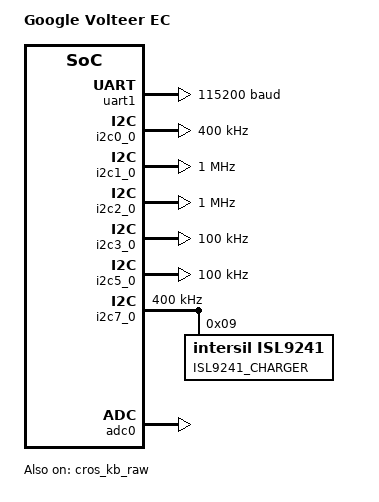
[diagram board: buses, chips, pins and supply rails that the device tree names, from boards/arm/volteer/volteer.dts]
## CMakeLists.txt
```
# Copyright 2020 The Chromium OS Authors. All rights reserved.
# Use of this source code is governed by a BSD-style license that can be
# found in the LICENSE file.
# SPDX-License-Identifier: Apache-2.0

cmake_minimum_required(VERSION 3.13.1)
set(BOARD_ROOT ${CMAKE_CURRENT_LIST_DIR})
set(BOARD volteer)

find_package(Zephyr REQUIRED HINTS $ENV{ZEPHYR_BASE})
project(volteer)

set(PLATFORM_EC_BOARD "${PLATFORM_EC}/board/volteer" CACHE PATH
    "Path to the platform/ec board directory")
set(PLATFORM_EC_BASEBOARD "${PLATFORM_EC}/baseboard/volteer" CACHE PATH
    "Path to the platform/ec baseboard directory")

# Include board specific header files
zephyr_library_include_directories(
  include
  "${PLATFORM_EC_BASEBOARD}"
  "${PLATFORM_EC_BOARD}")

# Include selected EC source for the baseboard
zephyr_library_sources_ifdef(CONFIG_PLATFORM_EC_BATTERY
  "${PLATFORM_EC_BASEBOARD}/battery_presence.c")
zephyr_library_sources_ifdef(CONFIG_PLATFORM_EC_CHARGE_MANAGER
  "${PLATFORM_EC_BASEBOARD}/charger.c")
zephyr_library_sources_ifdef(CONFIG_PLATFORM_EC_CBI
  "${PLATFORM_EC_BASEBOARD}/cbi.c"
  "${PLATFORM_EC_BASEBOARD}/cbi_ec_fw_config.c")
zephyr_library_sources_ifdef(CONFIG_PLATFORM_EC_POWERSEQ
  "${PLATFORM_EC_BASEBOARD}/power.c")
zephyr_library_sources_ifdef(CONFIG_PLATFORM_EC_USB_POWER_DELIVERY
  "${PLATFORM_EC_BASEBOARD}/usb_pd_policy.c")
zephyr_library_sources_ifdef(CONFIG_PLATFORM_EC_USBC
  "${PLATFORM_EC_BASEBOARD}/usbc_config.c")

# Include selected EC source for the board
zephyr_library_sources_ifdef(CONFIG_PLATFORM_EC_BATTERY
  "${PLATFORM_EC_BOARD}/battery.c")
zephyr_library_sources_ifdef(CONFIG_PLATFORM_EC_CBI
  "${PLATFORM_EC_BOARD}/cbi.c")
zephyr_library_sources_ifdef(CONFIG_PLATFORM_EC_KEYBOARD_BOARD_CONFIG
  "${PLATFORM_EC_BOARD}/keyboard.c")
zephyr_library_sources_ifdef(CONFIG_PLATFORM_EC_LED_COMMON
  "${PLATFORM_EC_BOARD}/led.c")
zephyr_library_sources_ifdef(CONFIG_PLATFORM_EC_USBC
  "${PLATFORM_EC_BOARD}/usbc_config.c")

# Board specific sensor implementation
zephyr_library_sources_ifdef(CONFIG_PLATFORM_EC_MOTIONSENSE
  "src/sensors.c")
```

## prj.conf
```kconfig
# Copyright 2021 The Chromium OS Authors. All rights reserved.
# Use of this source code is governed by a BSD-style license that can be
# found in the LICENSE file.

CONFIG_CROS_EC=y

# SoC configuration
CONFIG_AP=y
CONFIG_AP_X86_INTEL_TGL=y
CONFIG_FPU=y
CONFIG_ARM_MPU=y

# eSPI
CONFIG_ESPI=y
CONFIG_PLATFORM_EC_ESPI_VW_SLP_S4=y

CONFIG_PLATFORM_EC=y
CONFIG_SHIMMED_TASKS=y
CONFIG_ADC=y
CONFIG_ADC_SHELL=n
CONFIG_I2C=y
CONFIG_PLATFORM_EC_EXTPOWER_GPIO=y
CONFIG_PLATFORM_EC_LID_SWITCH=y
CONFIG_PLATFORM_EC_POWER_BUTTON=y
CONFIG_PLATFORM_EC_CBI=y
CONFIG_PLATFORM_EC_CONSOLE_CMD_HCDEBUG=n
CONFIG_PLATFORM_EC_CONSOLE_CMD_CHGRAMP=n

# Keyboard
CONFIG_PLATFORM_EC_KEYBOARD=y
CONFIG_PLATFORM_EC_KEYBOARD_COL2_INVERTED=y
CONFIG_PLATFORM_EC_KEYBOARD_BOARD_CONFIG=y
CONFIG_PLATFORM_EC_KEYBOARD_KEYPAD=y
CONFIG_PLATFORM_EC_KEYBOARD_PWRBTN_ASSERTS_KSI2=y
CONFIG_PLATFORM_EC_VOLUME_BUTTONS=y

# Battery
CONFIG_PLATFORM_EC_BATTERY=y
CONFIG_PLATFORM_EC_BATTERY_SMART=y
CONFIG_PLATFORM_EC_BATTERY_FUEL_GAUGE=y
CONFIG_PLATFORM_EC_BATTERY_CUT_OFF=y

CONFIG_PLATFORM_EC_BATTERY_HW_PRESENT_CUSTOM=y
CONFIG_PLATFORM_EC_BATTERY_REVIVE_DISCONNECT=y

# Keyboard Backlight
CONFIG_PLATFORM_EC_PWM_KBLIGHT=y

# LED
CONFIG_PLATFORM_EC_LED_COMMON=y
CONFIG_PLATFORM_EC_LED_PWM=y
CONFIG_PLATFORM_EC_CONSOLE_CMD_LEDTEST=n

# Power Sequencing
CONFIG_PLATFORM_EC_POWERSEQ=y
CONFIG_PLATFORM_EC_POWERSEQ_RTC_RESET=y
CONFIG_PLATFORM_EC_POWERSEQ_S0IX=y
CONFIG_PLATFORM_EC_POWER_SLEEP_FAILURE_DETECTION=y

# PWM
CONFIG_PWM=y
CONFIG_PWM_SHELL=n
CONFIG_PLATFORM_EC_PWM=y

# Fan
CONFIG_PLATFORM_EC_FAN=y
CONFIG_SENSOR=y
CONFIG_SENSOR_SHELL=n
CONFIG_TACH_NPCX=y

# Sensors
CONFIG_PLATFORM_EC_MOTIONSENSE=y
CONFIG_PLATFORM_EC_ACCEL_FIFO=y
CONFIG_PLATFORM_EC_ACCEL_INTERRUPTS=y
CONFIG_PLATFORM_EC_ALS=y
CONFIG_PLATFORM_EC_ALS_COUNT=1
CONFIG_PLATFORM_EC_DYNAMIC_MOTION_SENSOR_COUNT=y
CONFIG_PLATFORM_EC_GMR_TABLET_MODE=y
CONFIG_PLATFORM_EC_LID_ANGLE=y
CONFIG_PLATFORM_EC_LID_ANGLE_UPDATE=y
CONFIG_PLATFORM_EC_SENSOR_TIGHT_TIMESTAMPS=y
CONFIG_PLATFORM_EC_TABLET_MODE=y

# Sensor Drivers
CONFIG_PLATFORM_EC_ACCEL_BMA255=y
CONFIG_PLATFORM_EC_ACCELGYRO_BMI260=y
CONFIG_PLATFORM_EC_ALS_TCS3400=y

# Temperature sensors
CONFIG_PLATFORM_EC_TEMP_SENSOR=y
CONFIG_PLATFORM_EC_THERMISTOR=y
CONFIG_PLATFORM_EC_STEINHART_HART_3V3_30K9_47K_4050B=y

# Miscellaneous tasks
CONFIG_HAS_TASK_KEYPROTO=y
CONFIG_HAS_TASK_POWERBTN=y

# Miscellaneous configs
CONFIG_PLATFORM_EC_BOARD_RESET_AFTER_POWER_ON=y

# MKBP event
CONFIG_PLATFORM_EC_MKBP_EVENT=y
CONFIG_PLATFORM_EC_MKBP_USE_GPIO=y

# USB-C and charging
CONFIG_HAS_TASK_CHARGER=y
CONFIG_PLATFORM_EC_CHARGER_ISL9241=y
CONFIG_PLATFORM_EC_CHARGER_MIN_BAT_PCT_FOR_POWER_ON=3
CONFIG_PLATFORM_EC_CHARGER_MIN_BAT_PCT_FOR_POWER_ON_WITH_AC=1
CONFIG_PLATFORM_EC_CHARGER_MIN_POWER_MW_FOR_POWER_ON_WITH_BATT=15000
CONFIG_PLATFORM_EC_CHARGER_MIN_POWER_MW_FOR_POWER_ON=15001
CONFIG_HAS_TASK_USB_CHG_P1=y
CONFIG_PLATFORM_EC_BC12_DETECT_PI3USB9201=y
CONFIG_PLATFORM_EC_USB_PID=0x503e
CONFIG_PLATFORM_EC_USBC_PPC_SN5S330=y
CONFIG_PLATFORM_EC_USBC_PPC_SYV682X=y
CONFIG_PLATFORM_EC_USBC_RETIMER_INTEL_BB=y
CONFIG_PLATFORM_EC_USB_DRP_ACC_TRYSRC=y
CONFIG_PLATFORM_EC_USB_MUX_VIRTUAL=y
CONFIG_PLATFORM_EC_USB_PD_ALT_MODE_UFP=y
CONFIG_PLATFORM_EC_USB_PD_VBUS_MEASURE_CHARGER=y
CONFIG_PLATFORM_EC_USB_PD_DISCHARGE_PPC=y
CONFIG_PLATFORM_EC_USB_PD_FRS=y
CONFIG_PLATFORM_EC_USB_PD_FRS_PPC=y
CONFIG_PLATFORM_EC_USB_PD_REV30=y
CONFIG_PLATFORM_EC_BATTERY_FUEL_GAUGE=y
CONFIG_PLATFORM_EC_USB_PD_VBUS_DETECT_TCPC=y
CONFIG_PLATFORM_EC_USB_PD_TCPM_PS8815=y
CONFIG_PLATFORM_EC_USB_PD_TCPM_RT1715=y
CONFIG_PLATFORM_EC_USB_PD_TCPM_TUSB422=y
CONFIG_PLATFORM_EC_USB_PD_TCPM_MUX=y
CONFIG_HAS_TASK_PD_C1=y
CONFIG_HAS_TASK_PD_INT_C1=y
CONFIG_PLATFORM_EC_USBC_PPC_DEDICATED_INT=y
CONFIG_PLATFORM_EC_USB_A_PORT_COUNT=1
CONFIG_PLATFORM_EC_CONSOLE_CMD_PPC_DUMP=n
CONFIG_PLATFORM_EC_CONSOLE_CMD_TCPC_DUMP=n

# Flash
CONFIG_PLATFORM_EC_PROTECTED_STORAGE_OFF=0x0
CONFIG_PLATFORM_EC_PROTECTED_STORAGE_SIZE=0x40000
CONFIG_PLATFORM_EC_WRITABLE_STORAGE_OFF=0x40000
CONFIG_PLATFORM_EC_WRITABLE_STORAGE_SIZE=0x40000
CONFIG_PLATFORM_EC_CONSOLE_CMD_FLASH=n

# RTC
CONFIG_PLATFORM_EC_RTC=y
```

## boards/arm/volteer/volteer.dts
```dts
/*
 * Copyright (c) 2020 The Chromium OS Authors
 *
 * SPDX-License-Identifier: Apache-2.0
 */

/dts-v1/;

#include <cros/nuvoton/npcx7.dtsi>
#include <dt-bindings/adc/adc.h>
#include <dt-bindings/charger/intersil_isl9241.h>
#include <dt-bindings/gpio_defines.h>
#include <nuvoton/npcx7m7fc.dtsi>

/ {
	model = "Google Volteer EC";

	aliases {
		i2c-0 = &i2c0_0;
		i2c-1 = &i2c1_0;
		i2c-2 = &i2c2_0;
		i2c-3 = &i2c3_0;
		i2c-5 = &i2c5_0;
		i2c-7 = &i2c7_0;
	};

	chosen {
		zephyr,sram = &sram0;
		zephyr,console = &uart1;
		zephyr,shell-uart = &uart1;
		zephyr,flash = &flash0;
		cros,rtc = &mtc;
	};

	ec-console {
		compatible = "ec-console";

		disabled = "hostcmd";
	};

	named-batteries {
		compatible = "named-batteries";

		lgc011 {
			enum-name = "lgc011";
		};
	};

	named-i2c-ports {
		compatible = "named-i2c-ports";

		i2c_sensor: sensor {
			i2c-port = <&i2c0_0>;
			enum-name = "I2C_PORT_SENSOR";
			label = "SENSOR";
		};
		i2c-accel {
			i2c-port = <&i2c0_0>;
			enum-name = "I2C_PORT_ACCEL";
			label = "ACCEL";
		};
		usb-c0 {
			i2c-port = <&i2c1_0>;
			enum-name = "I2C_PORT_USB_C0";
			label = "USB_C0";
		};
		usb-c1 {
			i2c-port = <&i2c2_0>;
			enum-name = "I2C_PORT_USB_C1";
			label = "USB_C1";
		};
		usb1-mix {
			i2c-port = <&i2c3_0>;
			enum-name = "I2C_PORT_USB_1_MIX";
			label = "USB_1_MIX";
		};
		power {
			i2c-port = <&i2c5_0>;
			enum-name = "I2C_PORT_POWER";
			label = "POWER";
		};
		battery {
			i2c-port = <&i2c5_0>;
			enum-name = "I2C_PORT_BATTERY";
			label = "BATTERY";
		};
		eeprom {
			i2c-port = <&i2c7_0>;
			enum-name = "I2C_PORT_EEPROM";
			label = "EEPROM";
		};
		charger {
			i2c-port = <&i2c7_0>;
			enum-name = "I2C_PORT_CHARGER";
			label = "CHARGER";
		};
	};

	named-adc-channels {
		compatible = "named-adc-channels";

		adc_charger: charger {
			label = "ADC_TEMP_SENSOR_CHARGER";
			enum-name = "ADC_TEMP_SENSOR_CHARGER";
			channel = <0>;
		};
		adc_pp3300_regulator: pp3300_regulator {
			label = "ADC_TEMP_SENSOR_PP3300_REGULATOR";
			enum-name = "ADC_TEMP_SENSOR_PP3300_REGULATOR";
			channel = <1>;
		};
		adc_ddr_soc: ddr_soc {
			label = "ADC_TEMP_SENSOR_DDR_SOC";
			enum-name = "ADC_TEMP_SENSOR_DDR_SOC";
			channel = <8>;
		};
		adc_fan: fan {
			label = "ADC_TEMP_SENSOR_FAN";
			enum-name = "ADC_TEMP_SENSOR_FAN";
			channel = <3>;
		};
	};

	named-temp-sensors {
		charger {
			compatible = "temp-3v3-30k9-47k-4050b";
			label = "TEMP_SENSOR_CHARGER";
			enum-name = "TEMP_SENSOR_CHARGER";
			temp_fan_off = <40>;
			temp_fan_max = <55>;
			temp_host_high = <75>;
			temp_host_halt = <80>;
			temp_host_release_high = <65>;
			adc = <&adc_charger>;
		};
		pp3300_regulator {
			compatible = "temp-3v3-30k9-47k-4050b";
			label = "TEMP_SENSOR_PP3300_REGULATOR";
			enum-name = "TEMP_SENSOR_PP3300_REGULATOR";
			temp_fan_off = <40>;
			temp_fan_max = <55>;
			temp_host_high = <75>;
			temp_host_halt = <80>;
			temp_host_release_high = <65>;
			adc = <&adc_pp3300_regulator>;
		};
		ddr_soc {
			compatible = "temp-3v3-30k9-47k-4050b";
			label = "TEMP_SENSOR_DDR_SOC";
			enum-name = "TEMP_SENSOR_DDR_SOC";
			temp_fan_off = <35>;
			temp_fan_max = <50>;
			temp_host_high = <70>;
			temp_host_halt = <80>;
			temp_host_release_high = <65>;
			adc = <&adc_ddr_soc>;
		};
		fan {
			compatible = "temp-3v3-30k9-47k-4050b";
			label = "TEMP_SENSOR_FAN";
			enum-name = "TEMP_SENSOR_FAN";
			temp_fan_off = <35>;
			temp_fan_max = <50>;
			temp_host_high = <70>;
			temp_host_halt = <80>;
			temp_host_release_high = <65>;
			adc = <&adc_fan>;
		};
	};

	vsby-psl-in-list {
		/* Use PSL_IN1/2/3/4 as detection pins from hibernate mode */
		psl-in-pads = <&psl_in1 &psl_in2 &psl_in3 &psl_in4>;
	};

	/*
	 * The CBI Second Source Factory Cache (SSFC) layout definition.
	 * Specific fields values are defined per board.
	 */
	cbi-ssfc {
		compatible = "named-cbi-ssfc";

		cbi_ssfc_base_sensor: base_sensor {
			enum-name = "BASE_SENSOR";
			size = <3>;
		};
		cbi_ssfc_lid_sensor: lid_sensor {
			enum-name = "LID_SENSOR";
			size = <3>;
		};
		cbi_ssfc_lightbar: lightbar {
			enum-name = "LIGHTBAR";
			size = <2>;
		};
	};
};

&uart1 {
	status = "okay";
	current-speed = <115200>;
	pinctrl-0 = <&altc_uart1_sl2>; /* Use UART1_SL2 ie. PIN64.65 */
};

&i2c0_0 {
	status = "okay";
	clock-frequency = <I2C_BITRATE_FAST>;
};

&i2c1_0 {
	status = "okay";
	clock-frequency = <I2C_BITRATE_FAST_PLUS>;
};

&i2c2_0 {
	status = "okay";
	clock-frequency = <I2C_BITRATE_FAST_PLUS>;
};

&i2c3_0 {
	status = "okay";
	clock-frequency = <I2C_BITRATE_STANDARD>;
};

&i2c5_0 {
	status = "okay";
	clock-frequency = <I2C_BITRATE_STANDARD>;
};

&i2c7_0 {
	status = "okay";
	clock-frequency = <I2C_BITRATE_FAST>;

	isl9241: isl9241@9 {
		compatible = "intersil,isl9241";
		reg = <0x09>;
		label = "ISL9241_CHARGER";
		switching-frequency = <SWITCHING_FREQ_724KHZ>;
	};
};

&cros_kb_raw {
	status = "okay";
	/* No KSO2 (it's inverted and implemented by GPIO) */
	pinctrl-0 = <&alt7_no_ksi0_sl
		     &alt7_no_ksi1_sl
		     &alt7_no_ksi2_sl
		     &alt7_no_ksi3_sl
		     &alt7_no_ksi4_sl
		     &alt7_no_ksi5_sl
		     &alt7_no_ksi6_sl
		     &alt7_no_ksi7_sl
		     &alt8_no_kso00_sl
		     &alt8_no_kso01_sl
		     &alt8_no_kso03_sl
		     &alt8_no_kso04_sl
		     &alt8_no_kso05_sl
		     &alt8_no_kso06_sl
		     &alt8_no_kso07_sl
		     &alt9_no_kso08_sl
		     &alt9_no_kso09_sl
		     &alt9_no_kso10_sl
		     &alt9_no_kso11_sl
		     &alt9_no_kso12_sl
		     &alt9_no_kso13_sl
		     &alt9_no_kso14_sl
		     >;
};

&adc0 {
	status = "okay";
};

/* Power switch logic input pads */
&psl_in1 {
	flag = <NPCX_PSL_RISING_EDGE>;
};

&psl_in2 {
	flag = <NPCX_PSL_RISING_EDGE>;
};

&psl_in3 {
	flag = <NPCX_PSL_FALLING_EDGE>;
};

&psl_in4 {
	flag = <NPCX_PSL_RISING_EDGE>;
};
```

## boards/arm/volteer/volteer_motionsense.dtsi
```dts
/*
 * Copyright (c) 2020 The Chromium OS Authors
 *
 * SPDX-License-Identifier: Apache-2.0
 */

#include <dt-bindings/motionsense/utils.h>


/ {
	aliases {
		/*
		 * motion sense's <>_INT_EVENT is handled
		 * by alias. Using the alias, each driver creates
		 * its own <>_INT_EVENT.
		 */
		bmi260-int = &base_accel;
		tcs3400-int = &als_clear;
	};

	/*
	 * Declare mutexes used by sensor drivers.
	 * A mutex node is used to create an instance of mutex_t.
	 * A mutex node is referenced by a sensor node if the
	 * corresponding sensor driver needs to use the
	 * instance of the mutex.
	 */
	motionsense-mutex {
		compatible = "cros-ec,motionsense-mutex";
		mutex_bma255: bma255-mutex {
			label = "BMA255_MUTEX";
		};

		mutex_bmi260: bmi260-mutex {
			label = "BMI260_MUTEX";
		};
	};

	/* Rotation matrix used by drivers. */
	motionsense-rotation-ref {
		compatible = "cros-ec,motionsense-rotation-ref";
		lid_rot_ref: lid-rotation-ref {
			mat33 = <1 0 0
				 0 (-1) 0
				 0 0 (-1)>;
		};
		base_rot_ref: base-rotation-ref {
			mat33 = <0 1 0
				 (-1) 0 0
				 0 0 1>;
		};
	};

	/*
	 * Driver specific data. A driver-specific data can be shared with
	 * different motion sensors while they are using the same driver.
	 *
	 * If a node's compatible starts with "cros-ec,accelgyro-", it is for
	 * a common structure defined in accelgyro.h.
	 * e.g) compatible = "cros-ec,accelgyro-als-drv-data" is for
	 * "struct als_drv_data_t" in accelgyro.h
	 */
	motionsense-sensor-data {
		bma255_data: bma255-drv-data {
			compatible = "cros-ec,drvdata-bma255";
			status = "okay";
		};

		bmi260_data: bmi260-drv-data {
			compatible = "cros-ec,drvdata-bmi260";
			status = "okay";
		};

		tcs_clear_data: tcs3400-clear-drv-data {
			compatible = "cros-ec,drvdata-tcs3400-clear";
			status = "okay";

			als-drv-data {
				compatible = "cros-ec,accelgyro-als-drv-data";
				als-cal {
					scale = <1>;
					uscale = <0>;
					offset = <0>;
					als-channel-scale {
					compatible =
					"cros-ec,accelgyro-als-channel-scale";
						k-channel-scale = <1>;
						cover-scale = <1>;
					};
				};
			};
		};

		tcs_rgb_data: tcs3400-rgb-drv-data {
			compatible = "cros-ec,drvdata-tcs3400-rgb";
			status = "okay";

			/* node for rgb_calibration_t defined in accelgyro.h */
			rgb_calibration {
				compatible =
					"cros-ec,accelgyro-rgb-calibration";

				irt = <1>;

				rgb-cal-x {
					offset = <0>;
					coeff = <0 0 0 0>;
					als-channel-scale {
					compatible =
					"cros-ec,accelgyro-als-channel-scale";
						k-channel-scale = <1>;
						cover-scale = <1>;
					};
				};
				rgb-cal-y {
					offset = <0>;
					coeff = <0 0 0 0>;
					als-channel-scale {
					compatible =
					"cros-ec,accelgyro-als-channel-scale";
						k-channel-scale = <1>;
						cover-scale = <1>;
					};
				};
				rgb-cal-z {
					offset = <0>;
					coeff = <0 0 0 0>;
					als-channel-scale {
					compatible =
					"cros-ec,accelgyro-als-channel-scale";
						k-channel-scale = <1>;
						cover-scale = <1>;
					};
				};
			};
		};
	};

	/*
	 * List of motion sensors that creates motion_sensors array.
	 * The label "lid_accel" and "base_accel" are used to indicate
	 * motion sensor IDs for lid angle calculation.
	 */
	motionsense-sensor {
		lid_accel: lid-accel {
			compatible = "cros-ec,bma255";
			status = "okay";

			label = "Lid Accel";
			active-mask = "SENSOR_ACTIVE_S0_S3";
			location = "MOTIONSENSE_LOC_LID";
			mutex = <&mutex_bma255>;
			port = <&i2c_sensor>;
			rot-standard-ref = <&lid_rot_ref>;
			default-range = <2>;
			drv-data = <&bma255_data>;
			i2c-spi-addr-flags = "BMA2x2_I2C_ADDR1_FLAGS";
			configs {
				compatible =
					"cros-ec,motionsense-sensor-config";
				ec-s0 {
					label = "SENSOR_CONFIG_EC_S0";
					odr = <(10000 | ROUND_UP_FLAG)>;
				};
				ec-s3 {
					label = "SENSOR_CONFIG_EC_S3";
					odr = <(10000 | ROUND_UP_FLAG)>;
				};
			};
		};

		base_accel: base-accel {
			compatible = "cros-ec,bmi260-accel";
			status = "okay";

			label = "Base Accel";
			active-mask = "SENSOR_ACTIVE_S0_S3";
			location = "MOTIONSENSE_LOC_BASE";
			mutex = <&mutex_bmi260>;
			port = <&i2c_sensor>;
			rot-standard-ref = <&base_rot_ref>;
			default-range = <4>;
			drv-data = <&bmi260_data>;
			i2c-spi-addr-flags = "BMI260_ADDR0_FLAGS";
			configs {
				compatible =
					"cros-ec,motionsense-sensor-config";
				ec-s0 {
					label = "SENSOR_CONFIG_EC_S0";
					odr = <(10000 | ROUND_UP_FLAG)>;
					ec-rate = <(100 * USEC_PER_MSEC)>;
				};
				ec-s3 {
					label = "SENSOR_CONFIG_EC_S3";
					odr = <(10000 | ROUND_UP_FLAG)>;
					ec-rate = <(100 * USEC_PER_MSEC)>;
				};
			};
		};

		base-gyro {
			compatible = "cros-ec,bmi260-gyro";
			status = "okay";

			label = "Base Gyro";
			active-mask = "SENSOR_ACTIVE_S0_S3";
			location = "MOTIONSENSE_LOC_BASE";
			mutex = <&mutex_bmi260>;
			port = <&i2c_sensor>;
			rot-standard-ref = <&base_rot_ref>;
			default-range = <1000>; /* dps */
			drv-data = <&bmi260_data>;
			i2c-spi-addr-flags = "BMI260_ADDR0_FLAGS";
		};

		als_clear: base-als-clear {
			compatible = "cros-ec,tcs3400-clear";
			status = "okay";

			label = "Clear Light";
			active-mask = "SENSOR_ACTIVE_S0_S3";
			location = "MOTIONSENSE_LOC_BASE";
			port = <&i2c_sensor>;
			default-range = <0x10000>;
			drv-data = <&tcs_clear_data>;
			i2c-spi-addr-flags = "TCS3400_I2C_ADDR_FLAGS";
			configs {
				compatible =
					"cros-ec,motionsense-sensor-config";
				ec-s0 {
					/* Run ALS sensor in S0 */
					label = "SENSOR_CONFIG_EC_S0";
					odr = <1000>;
				};
			};
		};

		base-als-rgb {
			compatible = "cros-ec,tcs3400-rgb";
			status = "okay";

			label = "RGB Light";
			active-mask = "SENSOR_ACTIVE_S0_S3";
			location = "MOTIONSENSE_LOC_BASE";
			default-range = <0x10000>; /* scale = 1x, uscale = 0 */
			drv-data = <&tcs_rgb_data>;
		};
	};

	motionsense-sensor-info {
		compatible = "cros-ec,motionsense-sensor-info";

		/* list of entries for motion_als_sensors */
		als-sensors = <&als_clear>;
		/*
		 * list of GPIO interrupts that have to
		 * be enabled at initial stage
		 */
		sensor-irqs = <&gpio_ec_imu_int_l &gpio_ec_als_rgb_int_l>;
		/* list of sensors in force mode */
		accel-force-mode-sensors = <&lid_accel &als_clear>;
	};
};
```

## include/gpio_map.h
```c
/* Copyright 2020 The Chromium OS Authors. All rights reserved.
 * Use of this source code is governed by a BSD-style license that can be
 * found in the LICENSE file.
 */

#ifndef __ZEPHYR_GPIO_MAP_H
#define __ZEPHYR_GPIO_MAP_H

#include <devicetree.h>
#include <gpio_signal.h>

#include "extpower.h"
#include "lid_switch.h"
#include "power_button.h"

/*
 * Without https://github.com/zephyrproject-rtos/zephyr/pull/29282, we need
 * to manually link GPIO_ defines that platform/ec code expects to the
 * enum gpio_signal values that are generated by device tree bindings.
 *
 * Note we only need to create aliases for GPIOs that are referenced in common
 * platform/ec code.
 */
#define GPIO_AC_PRESENT            NAMED_GPIO(acok_od)
#define GPIO_CPU_PROCHOT           NAMED_GPIO(ec_prochot_odl)
#define GPIO_EC_ALS_RGB_INT_L      NAMED_GPIO(ec_als_rgb_int_l)
#define GPIO_EC_BATT_PRES_ODL      NAMED_GPIO(ec_batt_pres_odl)
#define GPIO_EC_INT_L              NAMED_GPIO(ec_pch_int_odl)
#define GPIO_EC_IMU_INT_L          NAMED_GPIO(ec_imu_int_l)
#define GPIO_EC_PCH_SYS_PWROK      NAMED_GPIO(ec_pch_sys_pwrok)
#define GPIO_EC_PCH_WAKE_ODL       NAMED_GPIO(ec_pch_wake_odl)
#define GPIO_EC_WP_L               NAMED_GPIO(ec_wp_l)
#define GPIO_EN_PP3300_A           NAMED_GPIO(en_pp3300_a)
#define GPIO_EN_PP5000             NAMED_GPIO(en_pp5000_a)
#define GPIO_EN_PP5000_A           NAMED_GPIO(en_pp5000_a)
#define GPIO_EN_PPVAR_VCCIN        NAMED_GPIO(en_ppvar_vccin)
#define GPIO_ENABLE_BACKLIGHT      NAMED_GPIO(ec_edp_bl_en)
#define GPIO_ENTERING_RW           NAMED_GPIO(ec_entering_rw)
#define GPIO_KBD_KSO2              NAMED_GPIO(ec_kso_02_inv)
#define GPIO_LID_OPEN              NAMED_GPIO(ec_lid_open)
#define GPIO_PACKET_MODE_EN        NAMED_GPIO(ec_h1_packet_mode)
#define GPIO_PCH_DSW_PWROK         NAMED_GPIO(ec_pch_dsw_pwrok)
#define GPIO_PCH_PWRBTN_L          NAMED_GPIO(ec_pch_pwr_btn_odl)
#define GPIO_PCH_RSMRST_L          NAMED_GPIO(ec_pch_rsmrst_odl)
#define GPIO_PCH_RTCRST            NAMED_GPIO(ec_pch_rtcrst)
#define GPIO_PCH_SLP_S0_L          NAMED_GPIO(slp_s0_l)
#define GPIO_PCH_SLP_S3_L          NAMED_GPIO(slp_s3_l)
#define GPIO_PCH_SLP_SUS_L         NAMED_GPIO(slp_sus_l)
#define GPIO_PG_EC_ALL_SYS_PWRGD   NAMED_GPIO(pg_ec_all_sys_pwrgd)
#define GPIO_PG_EC_DSW_PWROK       NAMED_GPIO(pg_ec_dsw_pwrok)
#define GPIO_PG_EC_RSMRST_ODL      NAMED_GPIO(pg_ec_rsmrst_odl)
#define GPIO_POWER_BUTTON_L        NAMED_GPIO(h1_ec_pwr_btn_odl)
#define GPIO_RSMRST_L_PGOOD        NAMED_GPIO(pg_ec_rsmrst_odl)
#define GPIO_SLP_SUS_L             NAMED_GPIO(slp_sus_l)
#define GPIO_SYS_RESET_L           NAMED_GPIO(sys_rst_odl)
#define GPIO_TABLET_MODE_L         NAMED_GPIO(tablet_mode_l)
#define GPIO_VOLUME_DOWN_L         NAMED_GPIO(ec_voldn_btn_odl)
#define GPIO_VOLUME_UP_L           NAMED_GPIO(ec_volup_btn_odl)
#define GPIO_WP_L                  NAMED_GPIO(ec_wp_l)

/* USB-C interrupts */
#define GPIO_USB_C0_TCPC_INT_ODL   NAMED_GPIO(usb_c0_tcpc_int_odl)
#define GPIO_USB_C1_TCPC_INT_ODL   NAMED_GPIO(usb_c1_tcpc_int_odl)

#define GPIO_USB_C0_PPC_INT_ODL    NAMED_GPIO(usb_c0_ppc_int_odl)
#define GPIO_USB_C1_PPC_INT_ODL    NAMED_GPIO(usb_c1_ppc_int_odl)

#define GPIO_USB_C0_BC12_INT_ODL   NAMED_GPIO(usb_c0_bc12_int_odl)
#define GPIO_USB_C1_MIX_INT_ODL    NAMED_GPIO(usb_c1_mix_int_odl)

#define GPIO_USB_C0_OC_ODL         NAMED_GPIO(usb_c0_oc_odl)
#define GPIO_USB_C1_OC_ODL         NAMED_GPIO(usb_c1_oc_odl)

/* USB and USBC Signals */
#define GPIO_EN_PP5000_USBA        NAMED_GPIO(en_pp5000_usba)
#define GPIO_USB_C1_FRS_EN         NAMED_GPIO(usb_c1_frs_en)
#define GPIO_USB_C1_RT_RST_ODL \
	NAMED_GPIO_NODELABEL(usb_c1_bb_retimer, reset_gpios)

/* Fan control */
#define GPIO_EN_PP5000_FAN         NAMED_GPIO(en_pp5000_fan)

/* Don't have a load switch for retimer */
/* TODO(b/176559881): How to do unimplemented GPIOs? */
#define GPIO_USB_C1_LS_EN \
	NAMED_GPIO_NODELABEL(usb_c1_bb_retimer, ls_en_gpios)

#define GPIO_USB_C1_BC12_INT_ODL   GPIO_USB_C1_MIX_INT_ODL

#define GPIO_EC_PROCHOT_IN_L       NAMED_GPIO(ec_prochot_in_l)

/* Helper macros for generating CROS_EC_GPIO_INTERRUPTS */
#ifdef CONFIG_PLATFORM_EC_POWERSEQ
#define POWER_SIGNAL_INT(gpio, edge) \
	GPIO_INT(gpio, edge, power_signal_interrupt)
#define AP_PROCHOT_INT(gpio, edge) \
	GPIO_INT(gpio, edge, throttle_ap_prochot_input_interrupt)
#define POWER_BUTTON_INT(gpio, edge) \
	GPIO_INT(gpio, edge, power_button_interrupt)
#else
#define POWER_SIGNAL_INT(gpio, edge)
#define AP_PROCHOT_INT(gpio, edge)
#define POWER_BUTTON_INT(gpio, edge)
#endif

#ifdef CONFIG_PLATFORM_EC_USBC
#define TCPC_ALERT_INT(gpio, edge) GPIO_INT(gpio, edge, tcpc_alert_event)
#define PPC_INT(gpio, edge) GPIO_INT(gpio, edge, ppc_interrupt)
#define BC12_INT(gpio, edge) GPIO_INT(gpio, edge, bc12_interrupt)
#else
#define TCPC_ALERT_INT(gpio, edge)
#define PPC_INT(gpio, edge)
#define BC12_INT(gpio, edge)
#endif

#ifdef CONFIG_PLATFORM_EC_ALS_TCS3400
#define TCS3400_INT(gpio, edge) GPIO_INT(gpio, edge, tcs3400_interrupt)
#else
#define TCS3400_INT(gpio, edge)
#endif

#ifdef CONFIG_PLATFORM_EC_ACCELGYRO_BMI260
#define BMI260_INT(gpio, edge) GPIO_INT(gpio, edge, bmi260_interrupt)
#else
#define BMI260_INT(gpio, edge)
#endif

#ifdef CONFIG_PLATFORM_EC_GMR_TABLET_MODE
#define GMR_TABLET_MODE_INT(gpio, edge) GPIO_INT(gpio, edge, \
						 gmr_tablet_switch_isr)
#define GMR_TABLET_MODE_GPIO_L	GPIO_TABLET_MODE_L
#else
#define GMR_TABLET_MODE_INT(gpio, edge)
#endif

/*
 * Set EC_CROS_GPIO_INTERRUPTS to a space-separated list of GPIO_INT items.
 *
 * Each GPIO_INT requires three parameters:
 *   gpio_signal - The enum gpio_signal for the interrupt gpio
 *   interrupt_flags - The interrupt-related flags (e.g. GPIO_INT_EDGE_BOTH)
 *   handler - The platform/ec interrupt handler.
 *
 * Ensure that this files includes all necessary headers to declare all
 * referenced handler functions.
 *
 * For example, one could use the follow definition:
 * #define EC_CROS_GPIO_INTERRUPTS \
 *   GPIO_INT(NAMED_GPIO(h1_ec_pwr_btn_odl), GPIO_INT_EDGE_BOTH, button_print)
 */
#define EC_CROS_GPIO_INTERRUPTS                                           \
	BMI260_INT(GPIO_EC_IMU_INT_L, GPIO_INT_EDGE_FALLING)              \
	GMR_TABLET_MODE_INT(GPIO_TABLET_MODE_L, GPIO_INT_EDGE_BOTH)       \
	GPIO_INT(GPIO_AC_PRESENT, GPIO_INT_EDGE_BOTH, extpower_interrupt) \
	GPIO_INT(GPIO_LID_OPEN, GPIO_INT_EDGE_BOTH, lid_interrupt)        \
	GPIO_INT(GPIO_EC_WP_L, GPIO_INT_EDGE_BOTH, switch_interrupt)      \
	POWER_SIGNAL_INT(GPIO_PCH_SLP_S0_L, GPIO_INT_EDGE_BOTH)           \
	POWER_SIGNAL_INT(GPIO_PCH_SLP_S3_L, GPIO_INT_EDGE_BOTH)           \
	POWER_SIGNAL_INT(GPIO_PCH_SLP_SUS_L, GPIO_INT_EDGE_BOTH)          \
	POWER_SIGNAL_INT(GPIO_PG_EC_DSW_PWROK, GPIO_INT_EDGE_BOTH)        \
	POWER_SIGNAL_INT(GPIO_PG_EC_RSMRST_ODL, GPIO_INT_EDGE_BOTH)       \
	POWER_SIGNAL_INT(GPIO_PCH_DSW_PWROK, GPIO_INT_EDGE_BOTH)          \
	POWER_SIGNAL_INT(GPIO_PG_EC_ALL_SYS_PWRGD, GPIO_INT_EDGE_BOTH)    \
	POWER_BUTTON_INT(GPIO_POWER_BUTTON_L, GPIO_INT_EDGE_BOTH)         \
	TCPC_ALERT_INT(GPIO_USB_C0_TCPC_INT_ODL, GPIO_INT_EDGE_BOTH)      \
	TCPC_ALERT_INT(GPIO_USB_C1_TCPC_INT_ODL, GPIO_INT_EDGE_BOTH)      \
	TCS3400_INT(GPIO_EC_ALS_RGB_INT_L, GPIO_INT_EDGE_FALLING)         \
	PPC_INT(GPIO_USB_C0_PPC_INT_ODL, GPIO_INT_EDGE_BOTH)              \
	PPC_INT(GPIO_USB_C1_PPC_INT_ODL, GPIO_INT_EDGE_BOTH)              \
	BC12_INT(GPIO_USB_C0_BC12_INT_ODL, GPIO_INT_EDGE_BOTH)            \
	BC12_INT(GPIO_USB_C1_MIX_INT_ODL, GPIO_INT_EDGE_BOTH)             \
	AP_PROCHOT_INT(GPIO_EC_PROCHOT_IN_L, GPIO_INT_EDGE_BOTH)

#endif /* __ZEPHYR_GPIO_MAP_H */
```

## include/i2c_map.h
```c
/* Copyright 2020 The Chromium OS Authors. All rights reserved.
 * Use of this source code is governed by a BSD-style license that can be
 * found in the LICENSE file.
 */

#ifndef __ZEPHYR_CHROME_I2C_MAP_H
#define __ZEPHYR_CHROME_I2C_MAP_H

#include <devicetree.h>

#include "config.h"

/* We need registers.h to get the chip specific defines for now */
#include "i2c/i2c.h"

#define I2C_PORT_ACCEL          I2C_PORT_SENSOR
#define I2C_PORT_SENSOR         NAMED_I2C(sensor)
#define I2C_PORT_USB_C0		NAMED_I2C(usb_c0)
#define I2C_PORT_USB_C1		NAMED_I2C(usb_c1)
#define I2C_PORT_USB_1_MIX	NAMED_I2C(usb1_mix)
#define I2C_PORT_POWER		NAMED_I2C(power)
#define I2C_PORT_EEPROM		NAMED_I2C(eeprom)

#define I2C_ADDR_EEPROM_FLAGS	0x50
#define I2C_PORT_BATTERY	I2C_PORT_POWER

#endif /* __ZEPHYR_CHROME_I2C_MAP_H */
```

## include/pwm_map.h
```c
/* Copyright 2021 The Chromium OS Authors. All rights reserved.
 * Use of this source code is governed by a BSD-style license that can be
 * found in the LICENSE file.
 */

#ifndef __ZEPHYR_CHROME_PWM_MAP_H
#define __ZEPHYR_CHROME_PWM_MAP_H

#include <devicetree.h>

#include "config.h"

#include "pwm/pwm.h"

/*
 * TODO(b/177452529): eliminate the dependency on enum pwm_channel
 * and configure this information directly from the device tree.
 */
#define PWM_CH_LED1_BLUE	NAMED_PWM(led1_blue)
#define PWM_CH_LED2_GREEN	NAMED_PWM(led2_green)
#define PWM_CH_LED3_RED		NAMED_PWM(led3_red)
#define PWM_CH_LED4_SIDESEL	NAMED_PWM(led3_sidesel)

#define PWM_CH_KBLIGHT		NAMED_PWM(kblight)

#define PWM_CH_FAN		NAMED_PWM(fan)

#endif /* __ZEPHYR_CHROME_PWM_MAP_H */
```

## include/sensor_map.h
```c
/* Copyright 2021 The Chromium OS Authors. All rights reserved.
 * Use of this source code is governed by a BSD-style license that can be
 * found in the LICENSE file.
 */

/* Sensor configuration on Volteer board */

#ifndef __ZEPHYR_SENSOR_MAP_H
#define __ZEPHYR_SENSOR_MAP_H

/*
 * TODO(b/173507858)
 * For now, this file is used to define missing motionsense related CONFIG_xxx.
 * Once we have all CONFIG_xxx in Kconfig and move all board specific things to
 * .dts then we will remove this file.
 */

/*
 * TODO(b/173507858) : Everything below will be moved to device tree
*/

enum sensor_id {
	LID_ACCEL = 0,
	BASE_ACCEL,
	BASE_GYRO,
	CLEAR_ALS,
	RGB_ALS,
	SENSOR_COUNT,
};

#ifdef CONFIG_ALS_TCS3400
#define CONFIG_ALS_TCS3400_INT_EVENT \
	TASK_EVENT_MOTION_SENSOR_INTERRUPT(CLEAR_ALS)
#endif

#ifdef CONFIG_ACCELGYRO_BMI260
#define CONFIG_ACCELGYRO_BMI260_INT_EVENT \
	TASK_EVENT_MOTION_SENSOR_INTERRUPT(BASE_ACCEL)
#endif

#ifdef CONFIG_LID_ANGLE
#define CONFIG_LID_ANGLE_SENSOR_BASE            BASE_ACCEL
#define CONFIG_LID_ANGLE_SENSOR_LID             LID_ACCEL
#endif

/* Sensors without hardware FIFO are in forced mode */
#define CONFIG_ACCEL_FORCE_MODE_MASK    (BIT(LID_ACCEL) | BIT(CLEAR_ALS))

#endif /* __ZEPHYR_SENSOR_MAP_H */
```

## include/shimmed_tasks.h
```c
/* Copyright 2020 The Chromium OS Authors. All rights reserved.
 * Use of this source code is governed by a BSD-style license that can be
 * found in the LICENSE file.
 */

#ifndef __CROS_EC_SHIMMED_TASKS_H
#define __CROS_EC_SHIMMED_TASKS_H

/*
 * Manually define these HAS_TASK_* defines. There is a build time assert
 * to at least verify we have the minimum set defined correctly.
 */
#define HAS_TASK_CHIPSET 1
#define HAS_TASK_HOSTCMD 1
#define HAS_TASK_KEYPROTO 1
#define HAS_TASK_KEYSCAN 1
#define HAS_TASK_POWERBTN 1

/*
 * Highest priority on bottom -- same as in platform/ec. List of CROS_EC_TASK
 * items. See CONFIG_TASK_LIST in platform/ec's config.h for more informaiton
 */
#define CROS_EC_TASK_LIST                                      \
	CROS_EC_TASK(CHIPSET, chipset_task, 0, 512)            \
	CROS_EC_TASK(HOSTCMD, host_command_task, 0, 512)       \
	CROS_EC_TASK(KEYPROTO, keyboard_protocol_task, 0, 512) \
	CROS_EC_TASK(POWERBTN, power_button_task, 0, 512)      \
	CROS_EC_TASK(KEYSCAN, keyboard_scan_task, 0, 512)

#endif /* __CROS_EC_SHIMMED_TASKS_H */
```

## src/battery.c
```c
/* Copyright 2019 The Chromium OS Authors. All rights reserved.
 * Use of this source code is governed by a BSD-style license that can be
 * found in the LICENSE file.
 *
 * Battery pack vendor provided charging profile
 */

#include "common.h"
#include "battery_fuel_gauge.h"
#include "charger.h"
#include "util.h"
#include "../driver/charger/isl9241.h"

/*
 * Battery info for all Volteer battery types. Note that the fields
 * start_charging_min/max and charging_min/max are not used for the charger.
 * The effective temperature limits are given by discharging_min/max_c.
 *
 * Fuel Gauge (FG) parameters which are used for determining if the battery
 * is connected, the appropriate ship mode (battery cutoff) command, and the
 * charge/discharge FETs status.
 *
 * Ship mode (battery cutoff) requires 2 writes to the appropriate smart battery
 * register. For some batteries, the charge/discharge FET bits are set when
 * charging/discharging is active, in other types, these bits set mean that
 * charging/discharging is disabled. Therefore, in addition to the mask for
 * these bits, a disconnect value must be specified. Note that for TI fuel
 * gauge, the charge/discharge FET status is found in Operation Status (0x54),
 * but a read of Manufacturer Access (0x00) will return the lower 16 bits of
 * Operation status which contains the FET status bits.
 *
 * The assumption for battery types supported is that the charge/discharge FET
 * status can be read with a sb_read() command and therefore, only the register
 * address, mask, and disconnect value need to be provided.
 */
const struct board_batt_params board_battery_info[] = {
	/* LGC\011 L17L3PB0 Battery Information */
	/*
	 * Battery info provided by ODM on b/143477210, comment #11
	 */
	[BATTERY_LGC011] = {
		.fuel_gauge = {
			.manuf_name = "LGC",
			.ship_mode = {
				.reg_addr = 0x00,
				.reg_data = { 0x10, 0x10 },
			},
			.fet = {
				.reg_addr = 0x0,
				.reg_mask = 0x6000,
				.disconnect_val = 0x6000,
			}
		},
		.batt_info = {
			.voltage_max		= TARGET_WITH_MARGIN(13200, 5),
			.voltage_normal		= 11550, /* mV */
			.voltage_min		= 9000, /* mV */
			.precharge_current	= 256,	/* mA */
			.start_charging_min_c	= 0,
			.start_charging_max_c	= 45,
			.charging_min_c		= 0,
			.charging_max_c		= 60,
			.discharging_min_c	= 0,
			.discharging_max_c	= 75,
		},
	},
};
BUILD_ASSERT(ARRAY_SIZE(board_battery_info) == BATTERY_TYPE_COUNT);

const enum battery_type DEFAULT_BATTERY_TYPE = BATTERY_LGC011;
```

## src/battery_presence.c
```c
/* Copyright 2019 The Chromium OS Authors. All rights reserved.
 * Use of this source code is governed by a BSD-style license that can be
 * found in the LICENSE file.
 *
 * Common battery presence checking for Volteer family.
 * Each board should implement board_battery_info[] to define the specific
 * battery packs supported.
 */
#include <stdbool.h>

#include "battery.h"
#include "battery_smart.h"
#include "gpio.h"

static enum battery_present batt_pres_prev = BP_NOT_SURE;

enum battery_present battery_hw_present(void)
{
	/* The GPIO is low when the battery is physically present */
	return gpio_get_level(GPIO_EC_BATT_PRES_ODL) ? BP_NO : BP_YES;
}

static bool battery_init(void)
{
	int batt_status;

	return battery_status(&batt_status) ? 0 :
		!!(batt_status & STATUS_INITIALIZED);
}

__overridable bool board_battery_is_initialized(void)
{
	/*
	 * Set default to return true
	 */
	return true;
}

/*
 * Physical detection of battery.
 */
static enum battery_present battery_check_present_status(void)
{
	enum battery_present batt_pres;
	bool batt_initialization_state;

	/* Get the physical hardware status */
	batt_pres = battery_hw_present();

	/*
	 * If the battery is not physically connected, then no need to perform
	 * any more checks.
	 */
	if (batt_pres != BP_YES)
		return batt_pres;

	/*
	 * If the battery is present now and was present last time we checked,
	 * return early.
	 */
	if (batt_pres == batt_pres_prev)
		return batt_pres;

	/*
	 * Check battery initialization. If the battery is not initialized,
	 * then return BP_NOT_SURE. Battery could be in ship
	 * mode and might require pre-charge current to wake it up. BP_NO is not
	 * returned here because charger state machine will not provide
	 * pre-charge current assuming that battery is not present.
	 */
	batt_initialization_state = board_battery_is_initialized();
	if (!batt_initialization_state)
		return BP_NOT_SURE;
	/*
	 * Ensure that battery is:
	 * 1. Not in cutoff
	 * 2. Initialized
	 */
	if (battery_is_cut_off() || !battery_init())
		batt_pres = BP_NO;

	return batt_pres;
}

enum battery_present battery_is_present(void)
{
	batt_pres_prev = battery_check_present_status();
	return batt_pres_prev;
}
```

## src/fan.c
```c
/* Copyright 2021 The Chromium OS Authors. All rights reserved.
 * Use of this source code is governed by a BSD-style license that can be
 * found in the LICENSE file.
 *
 * Temporary fan stub for Zephyr running on Volteer.
 * TODO: b/177854276, b/174851465
 * Remove once temperature sensor and a Zephyr fan API are available.
 */

#include "common.h"
#include "gpio.h"
#include "hooks.h"
#include "pwm.h"

static void board_fan_chipset_startup(void)
{
	gpio_set_level(GPIO_EN_PP5000_FAN, 1);
	pwm_enable(PWM_CH_FAN, 1);
	pwm_set_duty(PWM_CH_FAN, 50);
}
DECLARE_HOOK(HOOK_CHIPSET_STARTUP, board_fan_chipset_startup,
	     HOOK_PRIO_DEFAULT);

static void board_fan_chipset_shutdown(void)
{
	gpio_set_level(GPIO_EN_PP5000_FAN, 0);
	pwm_enable(PWM_CH_FAN, 0);
}
DECLARE_HOOK(HOOK_CHIPSET_SHUTDOWN, board_fan_chipset_shutdown,
	     HOOK_PRIO_DEFAULT);
```

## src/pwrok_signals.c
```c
/* Copyright 2020 The Chromium OS Authors. All rights reserved.
 * Use of this source code is governed by a BSD-style license that can be
 * found in the LICENSE file.
 */

/* PWROK signals lists.  Copied from volteer baseboard in platform/ec. */

#include <stdbool.h>
#include <zephyr.h>

#include "gpio_map.h"
#include "gpio_signal.h"
#include "power/intel_x86.h"

const struct intel_x86_pwrok_signal pwrok_signal_assert_list[] = {
	{
		.gpio = GPIO_EN_PPVAR_VCCIN,
		.delay_ms = 5,
	},
	{
		.gpio = GPIO_EC_PCH_SYS_PWROK,
		.delay_ms = 50 - 5,
	},
};
const int pwrok_signal_assert_count = ARRAY_SIZE(pwrok_signal_assert_list);

const struct intel_x86_pwrok_signal pwrok_signal_deassert_list[] = {
	/* No delays needed during S0 exit */
	{
		.gpio = GPIO_EC_PCH_SYS_PWROK,
	},
	/* Turn off VCCIN last */
	{
		.gpio = GPIO_EN_PPVAR_VCCIN,
	},
};
const int pwrok_signal_deassert_count = ARRAY_SIZE(pwrok_signal_deassert_list);
```

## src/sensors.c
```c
/* Copyright 2021 The Chromium OS Authors. All rights reserved.
 * Use of this source code is governed by a BSD-style license that can be
 * found in the LICENSE file.
 */

#include "chipset.h"
#include "common.h"
#include "keyboard_scan.h"

/* Volteer board specific sensor implementation */

#ifdef CONFIG_LID_ANGLE_UPDATE
void lid_angle_peripheral_enable(int enable)
{
	int chipset_in_s0 = chipset_in_state(CHIPSET_STATE_ON);

	if (enable) {
		keyboard_scan_enable(1, KB_SCAN_DISABLE_LID_ANGLE);
	} else {
		/*
		 * Ensure that the chipset is off before disabling the keyboard.
		 * When the chipset is on, the EC keeps the keyboard enabled and
		 * the AP decides whether to ignore input devices or not.
		 */
		if (!chipset_in_s0)
			keyboard_scan_enable(0, KB_SCAN_DISABLE_LID_ANGLE);
	}
}
#endif
```

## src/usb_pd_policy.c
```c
/* Copyright 2019 The Chromium OS Authors. All rights reserved.
 * Use of this source code is governed by a BSD-style license that can be
 * found in the LICENSE file.
 */
/* Shared USB-C policy for Volteer boards */
#include "charge_manager.h"
#include "compile_time_macros.h"
#include "console.h"
#include "gpio.h"
#include "usb_mux.h"
#include "usbc_ppc.h"
#include "usb_pd.h"
#include "system.h"

#define CPRINTF(format, args...) cprintf(CC_USBPD, format, ## args)
#define CPRINTS(format, args...) cprints(CC_USBPD, format, ## args)

int pd_check_vconn_swap(int port)
{
	/* Only allow vconn swap if pp5000_A rail is enabled */
	return gpio_get_level(GPIO_EN_PP5000_A);
}

void pd_power_supply_reset(int port)
{
	int prev_en;

	prev_en = ppc_is_sourcing_vbus(port);

	/* Disable VBUS. */
	ppc_vbus_source_enable(port, 0);

	/* Enable discharge if we were previously sourcing 5V */
	if (prev_en)
		pd_set_vbus_discharge(port, 1);

#ifdef CONFIG_USB_PD_MAX_SINGLE_SOURCE_CURRENT
	/* Give back the current quota we are no longer using */
	charge_manager_source_port(port, 0);
#endif /* defined(CONFIG_USB_PD_MAX_SINGLE_SOURCE_CURRENT) */

	/* Notify host of power info change. */
	pd_send_host_event(PD_EVENT_POWER_CHANGE);
}

int pd_set_power_supply_ready(int port)
{
	int rv;

	/* Disable charging. */
	rv = ppc_vbus_sink_enable(port, 0);
	if (rv)
		return rv;

	pd_set_vbus_discharge(port, 0);

	/* Provide Vbus. */
	rv = ppc_vbus_source_enable(port, 1);
	if (rv)
		return rv;

#ifdef CONFIG_USB_PD_MAX_SINGLE_SOURCE_CURRENT
	/* Ensure we advertise the proper available current quota */
	charge_manager_source_port(port, 1);
#endif /* defined(CONFIG_USB_PD_MAX_SINGLE_SOURCE_CURRENT) */

	/* Notify host of power info change. */
	pd_send_host_event(PD_EVENT_POWER_CHANGE);

	return EC_SUCCESS;
}

int pd_snk_is_vbus_provided(int port)
{
	return ppc_is_vbus_present(port);
}

int board_vbus_source_enabled(int port)
{
	return ppc_is_sourcing_vbus(port);
}
```

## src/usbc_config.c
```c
/* Copyright 2020 The Chromium OS Authors. All rights reserved.
 * Use of this source code is governed by a BSD-style license that can be
 * found in the LICENSE file.
 */

/* USBC PPC chip list.  Copied from volteer board.c in platform/ec. */

#include <stdbool.h>
#include <zephyr.h>

#include "charge_manager.h"
#include "charge_state.h"
#include "gpio_map.h"
#include "gpio_signal.h"
#include "usbc_ocp.h"
#include "usbc_ppc.h"
#include "../driver/ppc/sn5s330.h"
#include "../driver/ppc/syv682x.h"
#include "../driver/tcpm/tusb422.h"

#define SN5S330_ADDR0_FLAGS 0x40
#define SYV682X_ADDR0_FLAGS		0x40

#define CPRINTSUSB(format, args...) cprints(CC_USBCHARGE, format, ## args)
#define CPRINTFUSB(format, args...) cprintf(CC_USBCHARGE, format, ## args)

enum usbc_port {
	USBC_PORT_C0 = 0,
	USBC_PORT_C1,
	USBC_PORT_COUNT
};

struct ppc_config_t ppc_chips[] = {
	[USBC_PORT_C0] = {
		.i2c_port = I2C_PORT_USB_C0,
		.i2c_addr_flags = SN5S330_ADDR0_FLAGS,
		.drv = &sn5s330_drv,
	},
	[USBC_PORT_C1] = {
		.i2c_port = I2C_PORT_USB_C1,
		.i2c_addr_flags = SYV682X_ADDR0_FLAGS,
		.drv = &syv682x_drv,
	},
};
BUILD_ASSERT(ARRAY_SIZE(ppc_chips) == USBC_PORT_COUNT);
unsigned int ppc_cnt = ARRAY_SIZE(ppc_chips);

/* FIXME: For some reason these don't get defined by gpio_signal.h */
#define GPIO_USB_C0_OC_ODL 0
#define GPIO_USB_C1_OC_ODL 1

void board_overcurrent_event(int port, int is_overcurrented)
{
	/* Note that the level is inverted because the pin is active low. */
	switch (port) {
	case USBC_PORT_C0:
		gpio_set_level(GPIO_USB_C0_OC_ODL, !is_overcurrented);
		break;
	case USBC_PORT_C1:
		gpio_set_level(GPIO_USB_C1_OC_ODL, !is_overcurrented);
		break;
	}
}

/******************************************************************************/
/* USBC TCPC configuration */
struct tcpc_config_t tcpc_config[] = {
	[USBC_PORT_C0] = {
		.bus_type = EC_BUS_TYPE_I2C,
		.i2c_info = {
			.port = I2C_PORT_USB_C0,
			.addr_flags = TUSB422_I2C_ADDR_FLAGS,
		},
		.drv = &tusb422_tcpm_drv,
	},
	[USBC_PORT_C1] = {
		.bus_type = EC_BUS_TYPE_I2C,
		.i2c_info = {
			.port = I2C_PORT_USB_C1,
			.addr_flags = TUSB422_I2C_ADDR_FLAGS,
		},
		.drv = &tusb422_tcpm_drv,
	},
};
BUILD_ASSERT(ARRAY_SIZE(tcpc_config) == USBC_PORT_COUNT);
BUILD_ASSERT(CONFIG_USB_PD_PORT_MAX_COUNT == USBC_PORT_COUNT);

int board_set_active_charge_port(int port)
{
	int is_valid_port = (port >= 0 &&
			     port < CONFIG_USB_PD_PORT_MAX_COUNT);
	int i;

	if (port == CHARGE_PORT_NONE) {
		CPRINTSUSB("Disabling all charger ports");

		/* Disable all ports. */
		for (i = 0; i < ppc_cnt; i++) {
			/*
			 * Do not return early if one fails otherwise we can
			 * get into a boot loop assertion failure.
			 */
			if (ppc_vbus_sink_enable(i, 0))
				CPRINTSUSB("Disabling C%d as sink failed.", i);
		}

		return EC_SUCCESS;
	} else if (!is_valid_port) {
		return EC_ERROR_INVAL;
	}


	/* Check if the port is sourcing VBUS. */
	if (ppc_is_sourcing_vbus(port)) {
		CPRINTFUSB("Skip enable C%d", port);
		return EC_ERROR_INVAL;
	}

	CPRINTSUSB("New charge port: C%d", port);

	/*
	 * Turn off the other ports' sink path FETs, before enabling the
	 * requested charge port.
	 */
	for (i = 0; i < ppc_cnt; i++) {
		if (i == port)
			continue;

		if (ppc_vbus_sink_enable(i, 0))
			CPRINTSUSB("C%d: sink path disable failed.", i);
	}

	/* Enable requested charge port. */
	if (ppc_vbus_sink_enable(port, 1)) {
		CPRINTSUSB("C%d: sink path enable failed.", port);
		return EC_ERROR_UNKNOWN;
	}

	return EC_SUCCESS;
}

__overridable void board_set_charge_limit(int port, int supplier, int charge_ma,
			    int max_ma, int charge_mv)
{
	charge_set_input_current_limit(MAX(charge_ma,
					CONFIG_CHARGER_INPUT_CURRENT),
					charge_mv);
}
```
